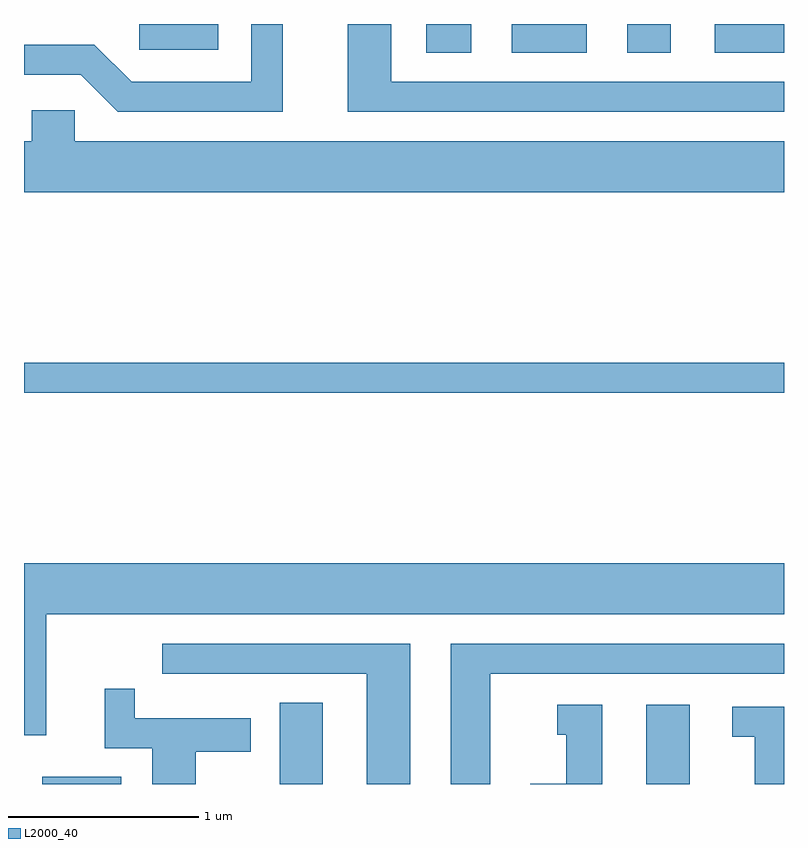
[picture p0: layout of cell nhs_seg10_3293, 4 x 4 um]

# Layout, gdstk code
import gdstk
lib = gdstk.Library(unit=1e-6, precision=1e-09)
def R(c, l, rs):  # rectangles x0, y0, x1, y1
    for r in rs: c.add(gdstk.rectangle(r[:2], r[2:], *l))
def P(c, l, *ps):  # polygons
    for p in ps: c.add(gdstk.Polygon(p, *l))
L2000_40 = (2000, 40)

nhs_seg10_3293 = lib.new_cell('nhs_seg10_3293')
R(nhs_seg10_3293, L2000_40, [(281.706,2168.522,282.124,2168.559), (282.956,2168.522,283.184,2168.949), (284.886,2168.522,285.114,2168.939), (281.611,2170.581,285.611,2170.739), (283.728,2172.371,283.964,2172.522), (284.178,2172.371,284.574,2172.522), (284.786,2172.371,285.014,2172.522), (285.246,2172.371,285.611,2172.522), (282.218,2172.386,282.634,2172.522)])
P(nhs_seg10_3293, L2000_40, [(282.974,2172.522),(282.806,2172.522),(282.806,2172.219),(282.177,2172.219),(281.982,2172.414),(281.611,2172.414),(281.611,2172.256),(281.909,2172.256),(282.104,2172.061),(282.974,2172.061)],
  [(285.611,2172.219),(283.544,2172.219),(283.544,2172.522),(283.316,2172.522),(283.316,2172.061),(285.611,2172.061)],
  [(285.611,2171.904),(281.879,2171.904),(281.879,2172.069),(281.651,2172.069),(281.651,2171.904),(281.611,2171.904),(281.611,2171.636),(285.611,2171.636)],
  [(281.729,2169.416),(285.611,2169.416),(285.611,2169.684),(281.611,2169.684),(281.611,2168.778),(281.729,2168.778)],
  [(284.064,2169.101),(285.611,2169.101),(285.611,2169.259),(283.856,2169.259),(283.856,2168.522),(284.064,2168.522)],
  [(283.644,2169.259),(282.338,2169.259),(282.338,2169.101),(283.416,2169.101),(283.416,2168.522),(283.644,2168.522)],
  [(282.514,2168.691),(282.804,2168.691),(282.804,2168.869),(282.194,2168.869),(282.194,2169.023),(282.036,2169.023),(282.036,2168.711),(282.286,2168.711),(282.286,2168.522),(282.514,2168.522)],
  [(284.654,2168.939),(284.418,2168.939),(284.418,2168.781),(284.466,2168.781),(284.466,2168.524),(284.276,2168.524),(284.276,2168.522),(284.654,2168.522)],
  [(285.611,2168.929),(285.338,2168.929),(285.338,2168.771),(285.456,2168.771),(285.456,2168.522),(285.611,2168.522)])

lib.write_gds('nhs_seg10_3293.gds')
